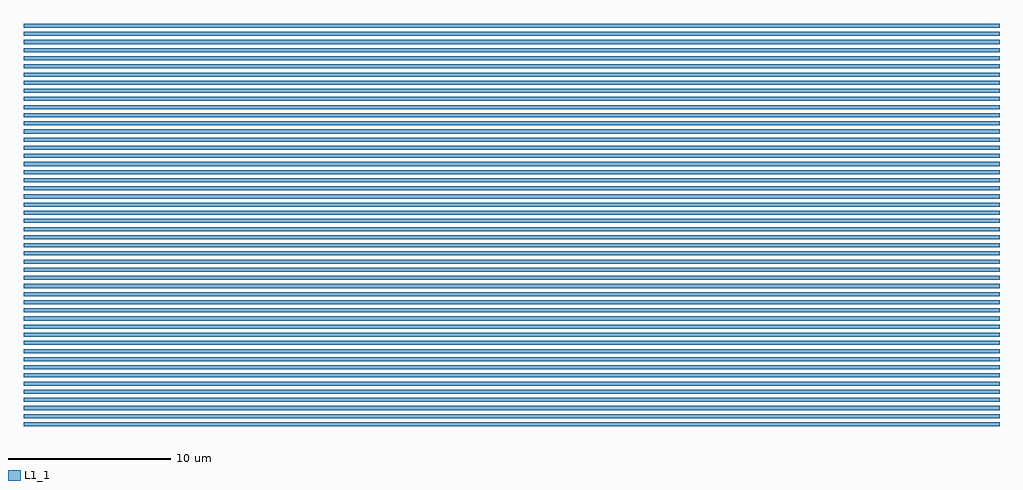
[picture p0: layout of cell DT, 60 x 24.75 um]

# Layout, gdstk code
import gdstk
lib = gdstk.Library(unit=1e-6, precision=1e-09)
def P(c, l, *ps):  # polygons
    for p in ps: c.add(gdstk.Polygon(p, *l))
L1_1 = (1, 1)

c_dt = lib.new_cell('DT')
P(c_dt, L1_1, [(-30,-0.125),(-30,0.125),(30,0.125),(30,-0.125),(-30,-0.125)],
  [(-30,0.375),(-30,0.625),(30,0.625),(30,0.375),(-30,0.375)],
  [(-30,0.875),(-30,1.125),(30,1.125),(30,0.875),(-30,0.875)],
  [(-30,1.375),(-30,1.625),(30,1.625),(30,1.375),(-30,1.375)],
  [(-30,1.875),(-30,2.125),(30,2.125),(30,1.875),(-30,1.875)],
  [(-30,2.375),(-30,2.625),(30,2.625),(30,2.375),(-30,2.375)],
  [(-30,2.875),(-30,3.125),(30,3.125),(30,2.875),(-30,2.875)],
  [(-30,3.375),(-30,3.625),(30,3.625),(30,3.375),(-30,3.375)],
  [(-30,3.875),(-30,4.125),(30,4.125),(30,3.875),(-30,3.875)],
  [(-30,4.375),(-30,4.625),(30,4.625),(30,4.375),(-30,4.375)],
  [(-30,4.875),(-30,5.125),(30,5.125),(30,4.875),(-30,4.875)],
  [(-30,5.375),(-30,5.625),(30,5.625),(30,5.375),(-30,5.375)],
  [(-30,5.875),(-30,6.125),(30,6.125),(30,5.875),(-30,5.875)],
  [(-30,6.375),(-30,6.625),(30,6.625),(30,6.375),(-30,6.375)],
  [(-30,6.875),(-30,7.125),(30,7.125),(30,6.875),(-30,6.875)],
  [(-30,7.375),(-30,7.625),(30,7.625),(30,7.375),(-30,7.375)],
  [(-30,7.875),(-30,8.125),(30,8.125),(30,7.875),(-30,7.875)],
  [(-30,8.375),(-30,8.625),(30,8.625),(30,8.375),(-30,8.375)],
  [(-30,8.875),(-30,9.125),(30,9.125),(30,8.875),(-30,8.875)],
  [(-30,9.375),(-30,9.625),(30,9.625),(30,9.375),(-30,9.375)],
  [(-30,9.875),(-30,10.125),(30,10.125),(30,9.875),(-30,9.875)],
  [(-30,10.375),(-30,10.625),(30,10.625),(30,10.375),(-30,10.375)],
  [(-30,10.875),(-30,11.125),(30,11.125),(30,10.875),(-30,10.875)],
  [(-30,11.375),(-30,11.625),(30,11.625),(30,11.375),(-30,11.375)],
  [(-30,11.875),(-30,12.125),(30,12.125),(30,11.875),(-30,11.875)],
  [(-30,12.375),(-30,12.625),(30,12.625),(30,12.375),(-30,12.375)],
  [(-30,12.875),(-30,13.125),(30,13.125),(30,12.875),(-30,12.875)],
  [(-30,13.375),(-30,13.625),(30,13.625),(30,13.375),(-30,13.375)],
  [(-30,13.875),(-30,14.125),(30,14.125),(30,13.875),(-30,13.875)],
  [(-30,14.375),(-30,14.625),(30,14.625),(30,14.375),(-30,14.375)],
  [(-30,14.875),(-30,15.125),(30,15.125),(30,14.875),(-30,14.875)],
  [(-30,15.375),(-30,15.625),(30,15.625),(30,15.375),(-30,15.375)],
  [(-30,15.875),(-30,16.125),(30,16.125),(30,15.875),(-30,15.875)],
  [(-30,16.375),(-30,16.625),(30,16.625),(30,16.375),(-30,16.375)],
  [(-30,16.875),(-30,17.125),(30,17.125),(30,16.875),(-30,16.875)],
  [(-30,17.375),(-30,17.625),(30,17.625),(30,17.375),(-30,17.375)],
  [(-30,17.875),(-30,18.125),(30,18.125),(30,17.875),(-30,17.875)],
  [(-30,18.375),(-30,18.625),(30,18.625),(30,18.375),(-30,18.375)],
  [(-30,18.875),(-30,19.125),(30,19.125),(30,18.875),(-30,18.875)],
  [(-30,19.375),(-30,19.625),(30,19.625),(30,19.375),(-30,19.375)],
  [(-30,19.875),(-30,20.125),(30,20.125),(30,19.875),(-30,19.875)],
  [(-30,20.375),(-30,20.625),(30,20.625),(30,20.375),(-30,20.375)],
  [(-30,20.875),(-30,21.125),(30,21.125),(30,20.875),(-30,20.875)],
  [(-30,21.375),(-30,21.625),(30,21.625),(30,21.375),(-30,21.375)],
  [(-30,21.875),(-30,22.125),(30,22.125),(30,21.875),(-30,21.875)],
  [(-30,22.375),(-30,22.625),(30,22.625),(30,22.375),(-30,22.375)],
  [(-30,22.875),(-30,23.125),(30,23.125),(30,22.875),(-30,22.875)],
  [(-30,23.375),(-30,23.625),(30,23.625),(30,23.375),(-30,23.375)],
  [(-30,23.875),(-30,24.125),(30,24.125),(30,23.875),(-30,23.875)],
  [(-30,24.375),(-30,24.625),(30,24.625),(30,24.375),(-30,24.375)])

lib.write_gds('DT.gds')
